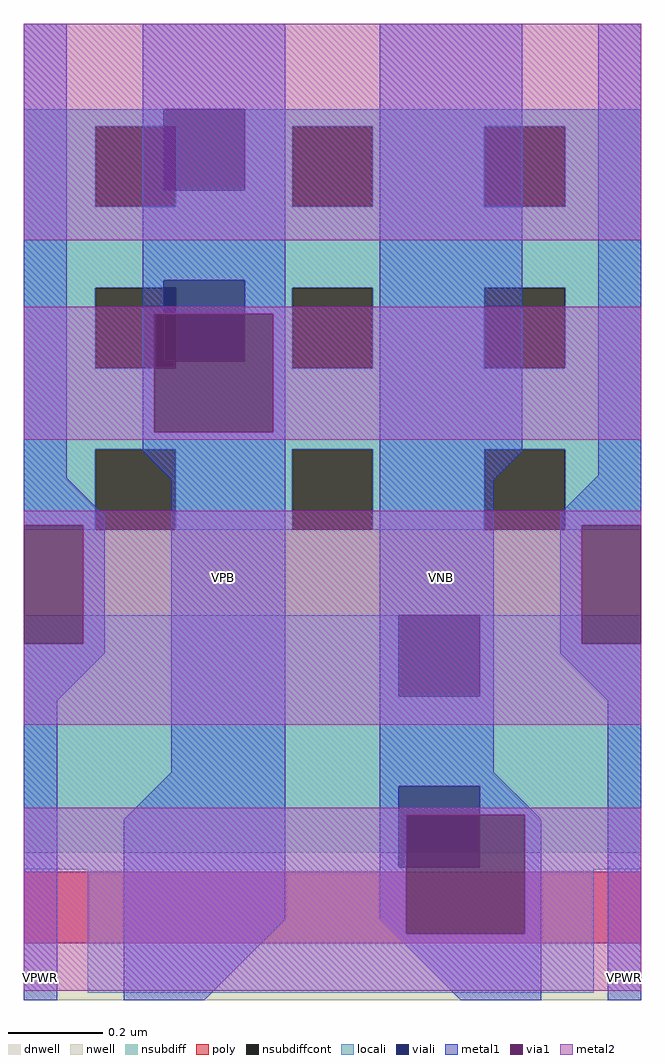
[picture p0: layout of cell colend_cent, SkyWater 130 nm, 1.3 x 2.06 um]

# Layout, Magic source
magic
tech sky130A
magscale 1 2
<< dnwell >>
rect 0 0 260 411
<< nwell >>
rect 0 0 260 411
<< nsubdiff >>
rect 0 368 260 375
rect 0 334 30 368
rect 64 334 113 368
rect 147 334 194 368
rect 228 334 260 368
rect 0 300 260 334
rect 0 266 30 300
rect 64 266 113 300
rect 147 266 194 300
rect 228 266 260 300
rect 0 232 260 266
rect 0 198 30 232
rect 64 198 113 232
rect 147 198 194 232
rect 228 198 260 232
rect 0 62 260 198
<< nsubdiffcont >>
rect 30 334 64 368
rect 113 334 147 368
rect 194 334 228 368
rect 30 266 64 300
rect 113 266 147 300
rect 194 266 228 300
rect 30 198 64 232
rect 113 198 147 232
rect 194 198 228 232
<< poly >>
rect 0 24 260 54
<< locali >>
rect 0 368 59 375
rect 93 368 260 375
rect 0 334 30 368
rect 93 341 113 368
rect 64 334 113 341
rect 147 334 194 368
rect 228 334 260 368
rect 0 303 260 334
rect 0 300 59 303
rect 93 300 260 303
rect 0 266 30 300
rect 93 269 113 300
rect 64 266 113 269
rect 147 266 194 300
rect 228 266 260 300
rect 0 232 260 266
rect 0 198 30 232
rect 64 198 113 232
rect 147 198 194 232
rect 228 198 260 232
rect 0 128 158 162
rect 192 128 260 162
rect 0 90 260 128
rect 0 56 158 90
rect 192 56 260 90
rect 0 55 260 56
rect 27 3 240 55
<< viali >>
rect 59 368 93 375
rect 59 341 64 368
rect 64 341 93 368
rect 59 300 93 303
rect 59 269 64 300
rect 64 269 93 300
rect 158 128 192 162
rect 158 56 192 90
<< metal1 >>
rect 0 204 18 411
rect 50 375 110 411
rect 50 341 59 375
rect 93 341 110 375
rect 50 303 110 341
rect 50 289 59 303
rect 93 289 110 303
rect 50 239 55 289
rect 105 239 110 289
rect 50 231 110 239
tri 18 204 34 220 sw
tri 50 219 62 231 ne
rect 0 200 34 204
rect 25 150 34 200
rect 0 146 34 150
rect 0 0 14 146
tri 14 126 34 146 nw
tri 42 76 62 96 se
rect 62 76 110 231
rect 42 34 110 76
rect 42 0 76 34
tri 76 0 110 34 nw
rect 150 231 210 411
rect 150 162 198 231
tri 198 219 210 231 nw
rect 150 128 158 162
rect 192 128 198 162
rect 150 90 198 128
tri 226 205 242 221 se
rect 242 205 260 411
rect 226 200 260 205
rect 226 150 235 200
rect 226 146 260 150
tri 226 126 246 146 ne
rect 150 56 158 90
rect 192 78 198 90
tri 198 78 216 96 sw
rect 211 76 216 78
tri 216 76 218 78 sw
rect 150 34 161 56
tri 150 28 156 34 ne
rect 156 28 161 34
rect 211 28 218 76
tri 156 0 184 28 ne
rect 184 0 218 28
rect 246 0 260 146
<< via1 >>
rect 55 269 59 289
rect 59 269 93 289
rect 93 269 105 289
rect 55 239 105 269
rect 0 150 25 200
rect 235 150 260 200
rect 161 56 192 78
rect 192 56 211 78
rect 161 28 211 56
<< metal2 >>
rect 0 320 260 411
rect 0 289 260 292
rect 0 239 55 289
rect 105 239 260 289
rect 0 236 260 239
rect 0 200 260 206
rect 25 150 235 200
rect 0 116 260 150
rect 0 78 260 81
rect 0 28 161 78
rect 211 28 260 78
rect 0 4 260 28
<< labels >>
rlabel metal1 s 246 0 260 19 4 VPWR
rlabel metal1 s 62 160 106 196 4 VPB
rlabel metal1 s 154 160 198 196 4 VNB
rlabel metal1 s 0 0 14 19 4 VPWR
<< end >>
